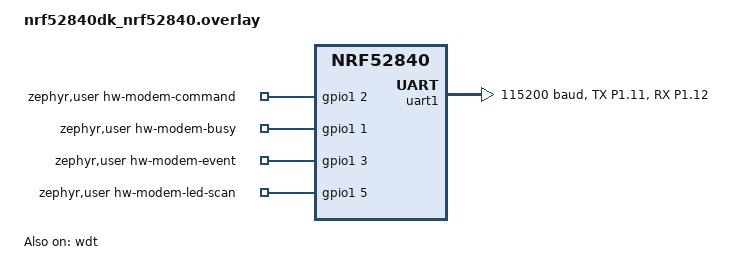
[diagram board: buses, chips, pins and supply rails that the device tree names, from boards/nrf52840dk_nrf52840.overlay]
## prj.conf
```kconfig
# Copyright (c) 2024 Semtech Corporation - Félix Piédallu
# SPDX-License-Identifier: Apache-2.0

CONFIG_USE_SEGGER_RTT=n

# ------------------------------ General configuration -------------------------

# required for floorf (which is used within the smtc_modem lib)
CONFIG_NEWLIB_LIBC=y

# stack size (2048 required by Semtech)
CONFIG_MAIN_STACK_SIZE=4096
# some opereations will be triggered from the system workq, so match above stack size
CONFIG_SYSTEM_WORKQUEUE_STACK_SIZE=4096
# heap size
CONFIG_HEAP_MEM_POOL_SIZE=4096

CONFIG_LOG_BUFFER_SIZE=4096

CONFIG_LOG=y
CONFIG_LOG_BACKEND_UART=y

CONFIG_TEST_RANDOM_GENERATOR=y

CONFIG_SERIAL=y
CONFIG_UART_INTERRUPT_DRIVEN=y

# ------------------------------ Transceiver driver ----------------------------

CONFIG_LORA_BASICS_MODEM_DRIVERS=y
CONFIG_LORA_BASICS_MODEM_DRIVERS_EVENT_TRIGGER_GLOBAL_THREAD=y

CONFIG_REBOOT=y

# ------------------------------ LoRa Basics Modem -----------------------------

CONFIG_LORA_BASICS_MODEM=y

CONFIG_LORA_BASICS_MODEM_RP2_103=y
CONFIG_LORA_BASICS_MODEM_ENABLE_ALL_REGIONS=y

CONFIG_LORA_BASICS_MODEM_CRYPTOGRAPHY_SOFT=n

CONFIG_LORA_BASICS_MODEM_CLASS_B=y
CONFIG_LORA_BASICS_MODEM_CLASS_C=y
CONFIG_LORA_BASICS_MODEM_MULTICAST=y
CONFIG_LORA_BASICS_MODEM_CSMA=y

CONFIG_LORA_BASICS_MODEM_ALC_SYNC=y
CONFIG_LORA_BASICS_MODEM_ALC_SYNC_V2=y

CONFIG_LORA_BASICS_MODEM_FUOTA=y
CONFIG_LORA_BASICS_MODEM_FUOTA_V1=y
CONFIG_LORA_BASICS_MODEM_FUOTA_ENABLE_FMP=y
CONFIG_LORA_BASICS_MODEM_FUOTA_ENABLE_MPA=y

CONFIG_LORA_BASICS_MODEM_ALMANAC=y
CONFIG_LORA_BASICS_MODEM_STREAM=y
CONFIG_LORA_BASICS_MODEM_LFU=y
CONFIG_LORA_BASICS_MODEM_DEVICE_MANAGEMENT=y
CONFIG_LORA_BASICS_MODEM_GEOLOCATION=y
CONFIG_LORA_BASICS_MODEM_STORE_AND_FORWARD=y
# CONFIG_LORA_BASICS_MODEM_BEACON_TX=y
CONFIG_LORA_BASICS_MODEM_RELAY_RX=y
CONFIG_LORA_BASICS_MODEM_RELAY_TX=y


CONFIG_LORA_BASICS_MODEM_APP_HELPERS=y

# Increase required for store_and_forward
CONFIG_LORA_BASICS_MODEM_CONTEXT_BUFFER_SIZE=1024


# ------------------------------ Debug ------------------------------

# Compiler optimizations will be set to -Og independently of other options.
CONFIG_DEBUG_OPTIMIZATIONS=y

# This option enables the addition of various information that can be
# used by debuggers in debugging the system, or enable additional debugging
# information to be reported at runtime.
CONFIG_DEBUG_INFO=y

# This option adds additional information to the thread object, so that the
# debugger can discover the threads.
CONFIG_DEBUG_THREAD_INFO=y
CONFIG_DEBUG_COREDUMP=y

# enable asserts during development only
CONFIG_ASSERT=y

CONFIG_LORA_BASICS_MODEM_LOG_LEVEL_DBG=y
CONFIG_LORA_BASICS_MODEM_LOG_LEVEL_DEEP_DBG=y

# ------------------------------ Requirements of this sample ------------------------------

CONFIG_PM_DEVICE=y
CONFIG_WATCHDOG=y
```

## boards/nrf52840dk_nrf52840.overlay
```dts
/*
 * Copyright (c) 2024 Semtech Corporation
 *
 * SPDX-License-Identifier: Apache-2.0
 */

/ {
    zephyr,user {
        /* PINS used for the HW modem sample. */
        hw-modem-command-gpios = <&gpio1 2 (GPIO_ACTIVE_HIGH | GPIO_PULL_UP)>;
        hw-modem-busy-gpios = <&gpio1 1 GPIO_ACTIVE_HIGH>;
        hw-modem-event-gpios = <&gpio1 3 GPIO_ACTIVE_HIGH>;
        hw-modem-led-scan-gpios = <&gpio1 5 GPIO_ACTIVE_HIGH>;
    };

    aliases {
        /* Specify which UART is used for communication (as input for the hw modem tester) */
        smtc-hal-uart = &uart1;
        smtc-watchdog = &wdt;
    };
};

&spi1 {
    status = "disabled";
};
&qspi {
    status = "disabled";
};

/* Specify which UART is used for communication (as input for the hw modem tester) */
&uart1 {
    status = "okay";

    current-speed = <115200>;

    pinctrl-0 = <&uart1_default_alt>;
    pinctrl-1 = <&uart1_sleep_alt>;
    pinctrl-names = "default", "sleep";
    /delete-property/ hw-flow-control;
};

&pinctrl {
    uart1_default_alt: uart1_default_alt {
        group1 {
            psels = <NRF_PSEL(UART_TX, 1, 11)>, <NRF_PSEL(UART_RX, 1, 12)>;
        };
    };

    uart1_sleep_alt: uart1_sleep_alt {
        group1 {
            psels = <NRF_PSEL(UART_TX, 1, 11)>, <NRF_PSEL(UART_RX, 1, 12)>;
            low-power-enable;
        };
    };
};

&wdt {
    status = "okay";
};
```

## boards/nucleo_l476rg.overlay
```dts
/*
 * Copyright (c) 2024 Semtech Corporation
 *
 * SPDX-License-Identifier: Apache-2.0
 */

 / {
    zephyr,user {
        /* PINS used for the HW modem sample. */
        hw-modem-command-gpios = <&gpioc 6 (GPIO_ACTIVE_HIGH | GPIO_PULL_UP)>;
        hw-modem-busy-gpios = <&gpioc 8 GPIO_ACTIVE_HIGH>;
        hw-modem-event-gpios = <&gpioc 5 GPIO_ACTIVE_HIGH>;
        hw-modem-led-scan-gpios = <&gpiob 5 GPIO_ACTIVE_HIGH>;
    };

    aliases {
        /* Specify which UART is used for communication (as input for the hw modem tester) */
        smtc-hal-uart = &usart3;
        smtc-watchdog = &iwdg;
    };
};

&spi3 {
    status = "disabled";
};

/* Specify which UART is used for communication (as input for the hw modem tester) */
&usart3 {
    status = "okay";

    current-speed = <115200>;

    pinctrl-0 = <&usart3_rx_pc11 &usart3_tx_pc10>;
    pinctrl-names = "default";
    /delete-property/ hw-flow-control;
};

&iwdg {
    status = "okay";
};
```

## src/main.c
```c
/*
 * Copyright (c) 2024 Semtech Corporation
 *
 * SPDX-License-Identifier: Apache-2.0
 */

#include "main.h"
#include "smtc_modem_hal_init.h"
#include "smtc_modem_utilities.h"
#include <smtc_modem_api.h>

#include "cmd_parser.h"

/* lr11xx radio context and its use in the ralf layer */
static const struct device *transceiver = DEVICE_DT_GET(DT_ALIAS(lora_transceiver));

/* Callbacks for HAL implementation */
static struct smtc_modem_hal_cb prv_hal_cb;

/**
 * @brief Callback for modem hal
 */
static int prv_get_battery_level_cb(uint32_t *value)
{
	*value = 98;
	return 0;
}

/**
 * @brief Callback for modem hal
 */
static int prv_get_temperature_cb(int32_t *value)
{
	*value = 25;
	return 0;
}

/**
 * @brief Callback for modem hal
 */
static int prv_get_voltage_cb(uint32_t *value)
{
	*value = 3300;
	return 0;
}

#ifdef CONFIG_LORA_BASICS_MODEM_FUOTA
static int prv_get_hw_version_for_fuota(uint32_t *version)
{
	*version = 1;
	return 0;
}

static int prv_get_fw_version_for_fuota(uint32_t *version)
{
	*version = 1;
	return 0;
}

static int prv_get_fw_status_available_for_fuota(uint8_t *status)
{
	*status = 1;
	return 0;
}

static int prv_get_next_fw_version_for_fuota(uint32_t *version)
{
	*version = 1;
	return 0;
}

static int prv_get_fw_delete_status_for_fuota(uint32_t status)
{
	return 0;
}
#endif /* CONFIG_LORA_BASICS_MODEM_FUOTA */

int main(void)
{
	/* Create callback structure for HAL impl */
	prv_hal_cb = (struct smtc_modem_hal_cb){
		.get_battery_level = prv_get_battery_level_cb,
		.get_temperature = prv_get_temperature_cb,
		.get_voltage = prv_get_voltage_cb,

#ifdef CONFIG_LORA_BASICS_MODEM_FUOTA
		.get_hw_version_for_fuota = prv_get_hw_version_for_fuota,
		.get_fw_version_for_fuota = prv_get_fw_version_for_fuota,
		.get_fw_status_available_for_fuota = prv_get_fw_status_available_for_fuota,
		.get_next_fw_version_for_fuota = prv_get_next_fw_version_for_fuota,
		.get_fw_delete_status_for_fuota = prv_get_fw_delete_status_for_fuota,
#endif /* CONFIG_LORA_BASICS_MODEM_FUOTA */
	};

	smtc_modem_set_radio_context(transceiver);
	smtc_modem_hal_init(transceiver);
	smtc_modem_hal_register_callbacks(&prv_hal_cb);

	cmd_parser_set_transceiver_context((void*)transceiver);

	main_hw_modem();
	return 0;
}
```

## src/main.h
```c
/*
 * Copyright (c) 2024 Semtech Corporation
 *
 * SPDX-License-Identifier: Apache-2.0
 */

#ifndef MAIN_H
#define MAIN_H

#ifdef __cplusplus
extern "C" {
#endif

/*
 * -----------------------------------------------------------------------------
 * --- DEPENDENCIES ------------------------------------------------------------
 */

#include <stdbool.h> // bool type
#include <stdint.h>  // C99 types

/*
 * -----------------------------------------------------------------------------
 * --- PUBLIC MACROS -----------------------------------------------------------
 */

/*
 * -----------------------------------------------------------------------------
 * --- PUBLIC CONSTANTS --------------------------------------------------------
 */

/*
 * -----------------------------------------------------------------------------
 * --- PUBLIC TYPES ------------------------------------------------------------
 */

/**
 * @brief Application examples
 */
#define HW_MODEM 1

/*
 * -----------------------------------------------------------------------------
 * --- PUBLIC FUNCTIONS PROTOTYPES ---------------------------------------------
 */

void main_hw_modem(void);

#ifdef __cplusplus
}
#endif

#endif // MAIN_H

/* --- EOF ------------------------------------------------------------------ */
```

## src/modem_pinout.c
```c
/*
 * Copyright (c) 2024 Semtech Corporation
 *
 * SPDX-License-Identifier: Apache-2.0
 */

#include "modem_pinout.h"

static const struct gpio_dt_spec hw_modem_event_gpios =
	GPIO_DT_SPEC_GET(DT_PATH(zephyr_user), hw_modem_event_gpios);
static const struct gpio_dt_spec hw_modem_busy_gpios =
	GPIO_DT_SPEC_GET(DT_PATH(zephyr_user), hw_modem_busy_gpios);
static const struct gpio_dt_spec hw_modem_command_gpios =
	GPIO_DT_SPEC_GET(DT_PATH(zephyr_user), hw_modem_command_gpios);
static const struct gpio_dt_spec hw_modem_led_scan_gpios =
	GPIO_DT_SPEC_GET(DT_PATH(zephyr_user), hw_modem_led_scan_gpios);

const struct gpio_dt_spec *modem_pinout_get_hw_modem_event_gpios(void)
{
	return &hw_modem_event_gpios;
}

const struct gpio_dt_spec *modem_pinout_get_hw_modem_busy_gpios(void)
{
	return &hw_modem_busy_gpios;
}

const struct gpio_dt_spec *modem_pinout_get_hw_modem_command_gpios(void)
{
	return &hw_modem_command_gpios;
}

const struct gpio_dt_spec *modem_pinout_get_hw_modem_led_scan_gpios(void)
{
	return &hw_modem_led_scan_gpios;
}
```

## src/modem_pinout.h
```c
/*
 * Copyright (c) 2024 Semtech Corporation
 *
 * SPDX-License-Identifier: Apache-2.0
 */

#ifndef __MODEM_PIN_NAMES_H__
#define __MODEM_PIN_NAMES_H__

#ifdef __cplusplus
extern "C" {
#endif

/*
 * -----------------------------------------------------------------------------
 * --- DEPENDENCIES ------------------------------------------------------------
 */

#include <zephyr/drivers/gpio.h>

/*
 * -----------------------------------------------------------------------------
 * --- PUBLIC MACROS -----------------------------------------------------------
 */

/*
 * -----------------------------------------------------------------------------
 * --- PUBLIC CONSTANTS --------------------------------------------------------
 */

/********************************************************************************/
/*                         Application     dependant                            */
/********************************************************************************/

const struct gpio_dt_spec *modem_pinout_get_hw_modem_event_gpios(void);
const struct gpio_dt_spec *modem_pinout_get_hw_modem_busy_gpios(void);
const struct gpio_dt_spec *modem_pinout_get_hw_modem_command_gpios(void);
const struct gpio_dt_spec *modem_pinout_get_hw_modem_led_scan_gpios(void);

#define HW_MODEM_EVENT_PIN   modem_pinout_get_hw_modem_event_gpios()
#define HW_MODEM_BUSY_PIN    modem_pinout_get_hw_modem_busy_gpios()
#define HW_MODEM_COMMAND_PIN modem_pinout_get_hw_modem_command_gpios()
#define SMTC_LED_SCAN	     modem_pinout_get_hw_modem_led_scan_gpios()

#define PIN_COUNT 4

/*
 * -----------------------------------------------------------------------------
 * --- PUBLIC TYPES ------------------------------------------------------------
 */

/*
 * -----------------------------------------------------------------------------
 * --- PUBLIC FUNCTIONS PROTOTYPES ---------------------------------------------
 */
#ifdef __cplusplus
}
#endif

#endif //__MODEM_PIN_NAMES_H__
```
